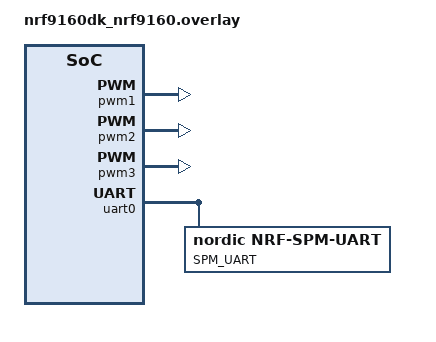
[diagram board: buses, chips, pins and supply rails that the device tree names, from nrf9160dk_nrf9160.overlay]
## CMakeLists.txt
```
#
# Copyright (c) 2019 Nordic Semiconductor ASA
#
# SPDX-License-Identifier: LicenseRef-Nordic-5-Clause
#
cmake_minimum_required(VERSION 3.13.1)

find_package(Zephyr REQUIRED HINTS $ENV{ZEPHYR_BASE})
project(NONE)

zephyr_include_directories(
  kernel/include
  ${ARCH_DIR}/${ARCH}/include
)

add_definitions(-DNRF)

zephyr_library_sources(src/main.c
    ../../../lib/common.c
  )
zephyr_library_include_directories(
  ../../../lib/
  )

add_library(testlib STATIC IMPORTED)
target_link_libraries(
	app PUBLIC ${APPLICATION_SOURCE_DIR}/../../../lib/libblst.a
	nrfxlib_crypto
)
```

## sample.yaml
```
sample:
  name: spm Sample
tests:
  samples.spm:
    build_only: true
    build_on_all: true
    platform_allow: nrf5340dk_nrf5340_cpuapp nrf9160dk_nrf9160
    integration_platforms:
      - nrf5340dk_nrf5340_cpuapp
      - nrf9160dk_nrf9160
    tags: ci_build

  samples.spm_shared_uart:
    build_only: true
    build_on_all: true
    platform_allow: nrf5340dk_nrf5340_cpuapp nrf9160dk_nrf9160
    integration_platforms:
      - nrf5340dk_nrf5340_cpuapp
      - nrf9160dk_nrf9160
    tags: ci_build
    extra_configs:
      - CONFIG_SPM_SHARE_CONSOLE_UART=y
      - CONFIG_UART_CONSOLE_ON_DEV_NAME="SPM_UART"
```

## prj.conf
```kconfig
#
# Copyright (c) 2019 Nordic Semiconductor ASA
#
# SPDX-License-Identifier: LicenseRef-Nordic-5-Clause
#
CONFIG_NCS_SAMPLES_DEFAULTS=y

CONFIG_IS_SPM=y
CONFIG_FW_INFO=y
CONFIG_GPIO=n
CONFIG_MAIN_STACK_SIZE=25600

# Images that set CONFIG_BOOTLOADER_MCUBOOT get this value set by default.
# The SPM image will not have CONFIG_BOOTLOADER_MCUBOOT set by default when
# being built by a parent image. Hence we set it here to ensure that SPM
# cleans up the core during boot.
CONFIG_INIT_ARCH_HW_AT_BOOT=y

# Avoid using feature that allocates PPI channels
CONFIG_UART_0_ENHANCED_POLL_OUT=n
CONFIG_UART_1_ENHANCED_POLL_OUT=n

CONFIG_ARM_FIRMWARE_HAS_SECURE_ENTRY_FUNCS=y
CONFIG_SPM_SERVICE_RNG=y
CONFIG_NORDIC_SECURITY_BACKEND=y
CONFIG_NRF_OBERON=y
```

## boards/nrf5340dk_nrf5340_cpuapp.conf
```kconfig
CONFIG_NRFX_UARTE2=y
```

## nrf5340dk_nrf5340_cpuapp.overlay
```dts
/* Needed to get NRF_PWMn defined. */
&pwm1 {
	status = "okay";
};

&pwm2 {
	status = "okay";
};

&pwm3 {
	status = "okay";
};
```

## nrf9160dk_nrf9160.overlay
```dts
/* Needed to get NRF_PWMn defined. */
&pwm1 {
	status = "okay";
};

&pwm2 {
	status = "okay";
};

&pwm3 {
	status = "okay";
};

&uart0 {
	status = "okay";

	spm_uart: nrf-spm-uart {
		compatible = "nordic,nrf-spm-uart";
		status = "okay";
		label = "SPM_UART";
	};
};
```

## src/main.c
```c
/*
 * Copyright (c) 2018 Nordic Semiconductor ASA.
 *
 * SPDX-License-Identifier: LicenseRef-Nordic-5-Clause
 */


/*
 * Example code for a Secure Partition Manager application.
 * The application uses the SPM to set the security attributions of
 * the MCU resources (Flash, SRAM and Peripherals). It uses the core
 * TrustZone-M API to prepare the MCU to jump into Non-Secure firmware
 * execution.
 *
 * The following security configuration for Flash and SRAM is applied:
 *
 *                FLASH
 *  1 MB  |---------------------|
 *        |                     |
 *        |                     |
 *        |                     |
 *        |                     |
 *        |                     |
 *        |     Non-Secure      |
 *        |       Flash         |
 *        |                     |
 * 256 kB |---------------------|
 *        |                     |
 *        |     Secure          |
 *        |      Flash          |
 *  0 kB  |---------------------|
 *
 *
 *                SRAM
 * 256 kB |---------------------|
 *        |                     |
 *        |                     |
 *        |                     |
 *        |     Non-Secure      |
 *        |    SRAM (image)     |
 *        |                     |
 * 128 kB |.................... |
 *        |     Non-Secure      |
 *        |  SRAM (BSD Library) |
 *  64 kB |---------------------|
 *        |      Secure         |
 *        |       SRAM          |
 *  0 kB  |---------------------|
 */
#define NRF

#include <spm.h>
#include <aarch32/cortex_m/tz.h>

#include <sys/printk.h>
#include <secure_services.h>
#include <bl_crypto.h>
#include <ocrypto_aes_ctr.h>
#include <bls_hsm.h>

void main(void)
{
	spm_config();
	spm_jump();
}
```
